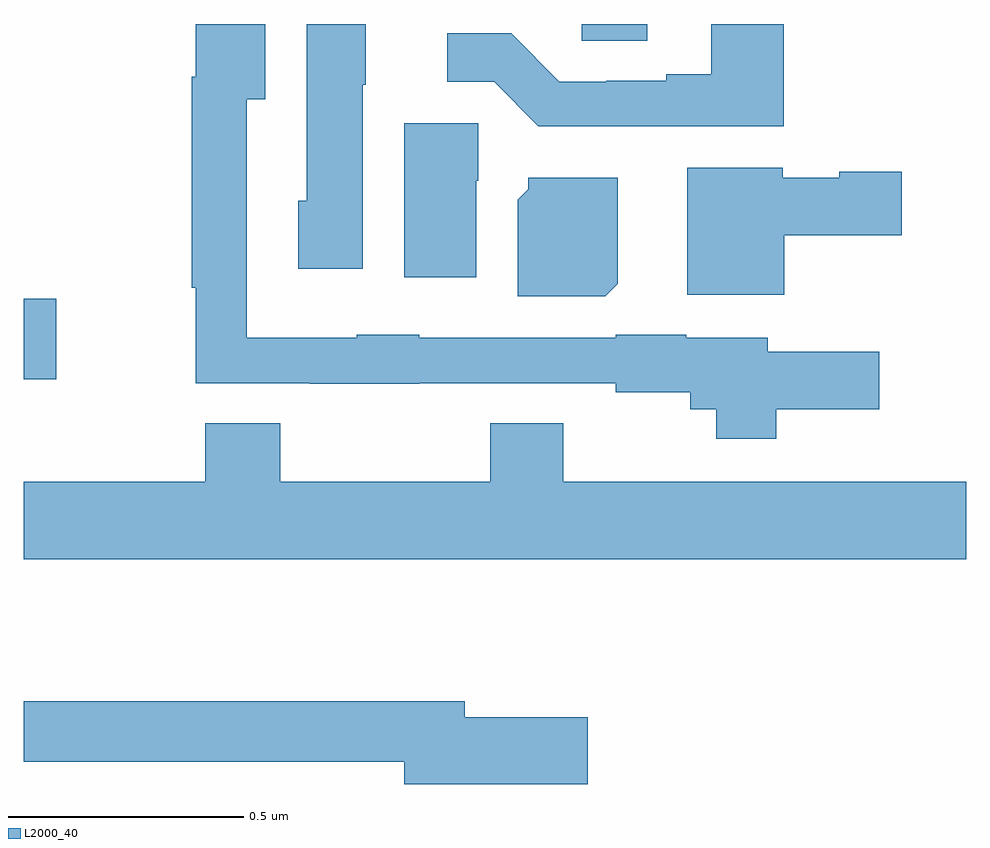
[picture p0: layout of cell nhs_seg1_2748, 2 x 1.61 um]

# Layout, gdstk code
import gdstk
lib = gdstk.Library(unit=1e-6, precision=1e-09)
def R(c, l, rs):  # rectangles x0, y0, x1, y1
    for r in rs: c.add(gdstk.rectangle(r[:2], r[2:], *l))
def P(c, l, *ps):  # polygons
    for p in ps: c.add(gdstk.Polygon(p, *l))
L2000_40 = (2000, 40)

nhs_seg1_2748 = lib.new_cell('nhs_seg1_2748')
R(nhs_seg1_2748, L2000_40, [(145,553.445,145.069,553.616), (146.184,554.164,146.323,554.199)])
P(nhs_seg1_2748, L2000_40, [(145.72,554.07),(145.726,554.07),(145.726,554.199),(145.601,554.199),(145.601,553.824),(145.583,553.824),(145.583,553.68),(145.72,553.68)],
  [(146.612,554.199),(146.459,554.199),(146.459,554.092),(146.363,554.092),(146.363,554.079),(146.236,554.079),(146.236,554.076),(146.136,554.076),(146.034,554.179),(145.899,554.179),(145.899,554.076),(145.998,554.076),(146.092,553.982),(146.612,553.982)],
  [(146.597,553.382),(146.815,553.382),(146.815,553.504),(146.578,553.504),(146.578,553.534),(146.406,553.534),(146.406,553.54),(146.256,553.54),(146.256,553.533),(145.839,553.533),(145.839,553.54),(145.707,553.54),(145.707,553.534),(145.473,553.534),(145.473,554.039),(145.513,554.039),(145.513,554.199),(145.365,554.199),(145.365,554.087),(145.357,554.087),(145.357,553.64),(145.365,553.64),(145.365,553.437),(145.607,553.437),(145.607,553.436),(145.839,553.436),(145.839,553.437),(146.256,553.437),(146.256,553.418),(146.414,553.418),(146.414,553.382),(146.469,553.382),(146.469,553.319),(146.597,553.319)],
  [(145.96,553.866),(145.964,553.866),(145.964,553.989),(145.808,553.989),(145.808,553.662),(145.96,553.662)],
  [(146.614,553.751),(146.863,553.751),(146.863,553.886),(146.73,553.886),(146.73,553.873),(146.61,553.873),(146.61,553.894),(146.408,553.894),(146.408,553.625),(146.614,553.625)],
  [(146.26,553.648),(146.26,553.873),(146.07,553.873),(146.07,553.848),(146.048,553.826),(146.048,553.622),(146.234,553.622)],
  [(147,553.228),(146.145,553.228),(146.145,553.352),(145.99,553.352),(145.99,553.228),(145.545,553.228),(145.545,553.352),(145.385,553.352),(145.385,553.228),(145,553.228),(145,553.064),(147,553.064)],
  [(146.197,552.729),(145.936,552.729),(145.936,552.763),(145,552.763),(145,552.634),(145.808,552.634),(145.808,552.587),(146.197,552.587)])

lib.write_gds('nhs_seg1_2748.gds')
